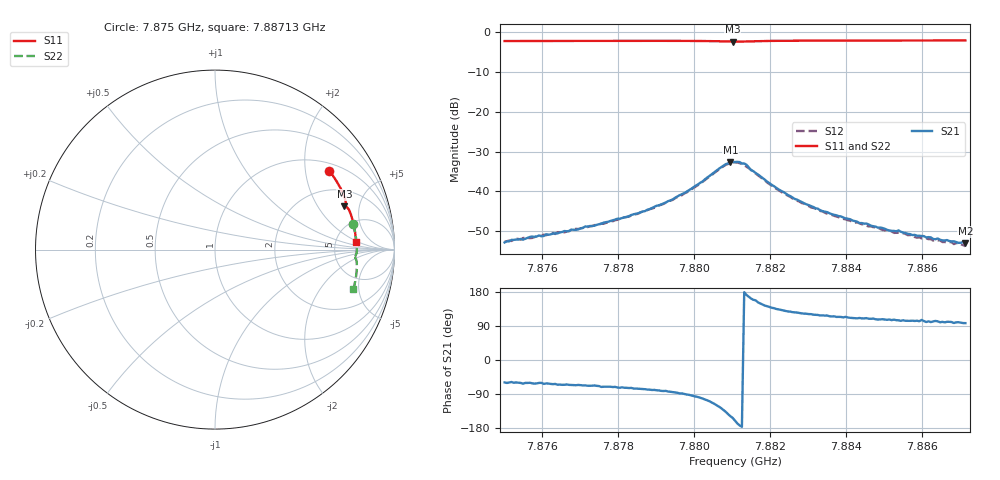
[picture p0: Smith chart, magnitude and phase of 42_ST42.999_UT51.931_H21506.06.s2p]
#  HZ  S  DB  R  50.00
! Rohde & Schwarz Vector Network Analyzer
! Rohde-Schwarz,ZNB20-2Port,1311601062101988,3.16
! Created: UTC 1/12/2023, 6:32:15 PM
! freq[Hz]  db:S11  ang:S11  db:S21  ang:S21  db:S12  ang:S12  db:S22  ang:S22
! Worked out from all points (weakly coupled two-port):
!   201 points, 7.875 GHz to 7.88713 GHz, reference 50 ohm
!   highest |S21| = -32.60 dB at 7.88095 GHz (marker M1); lowest = -53.1 dB at 7.88713 GHz (marker M2)
!   lowest |S11| = -2.4 dB at 7.88101 GHz (marker M3), VSWR 7.35, Z = 155 + j177 ohm
!   |S11| at or under -10 dB: nowhere
!   |S22| runs from -2.3 to -1.9 dB; largest |S21 - S12| = 0.0026
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7.875004e9  -2.22 34.5  -52.87 -59.2  -52.60 -61.5  -2.13 10.6
7.877066e9  -2.19 28.9  -49.18 -67.1  -49.22 -71.1  -2.08 5.7
7.878279e9  -2.18 25.6  -46.24 -74.0  -46.35 -76.8  -2.06 2.9
7.879068e9  -2.17 23.4  -43.52 -80.3  -43.56 -83.7  -2.04 1.0
7.879795e9  -2.19 21.3  -40.10 -91.1  -40.31 -94.3  -2.05 -0.8
7.880645e9  -2.30 18.9  -34.35 -123.1  -34.50 -126.3  -2.17 -3.0
7.880948e9  -2.37 18.5  -32.60 -148.4  -32.91 -151.7  -2.23 -3.2
7.881008e9  -2.38 18.5  -32.65 -152.8  -32.74 -157.7  -2.25 -3.2
7.881069e9  -2.38 18.6  -32.63 -160.1  -32.74 -163.9  -2.26 -3.1
7.881372e9  -2.32 18.4  -33.33 171.6  -33.83 168.0  -2.19 -3.0
7.881494e9  -2.28 18.2  -34.69 162.0  -34.64 159.1  -2.16 -3.1
7.882222e9  -2.16 16.2  -39.56 133.6  -39.77 129.8  -2.03 -4.8
7.883131e9  -2.12 13.6  -43.96 119.6  -44.19 116.0  -1.98 -7.0
7.884223e9  -2.10 10.6  -47.49 110.3  -47.88 107.8  -1.95 -9.5
7.885133e9  -2.09 8.2  -49.86 106.9  -49.83 103.1  -1.94 -11.6
7.885376e9  -2.09 7.6  -49.84 104.8  -50.43 101.8  -1.93 -12.1
7.885739e9  -2.09 6.6  -51.01 103.7  -51.01 99.9  -1.92 -12.9
7.885861e9  -2.08 6.3  -51.17 103.6  -51.71 99.2  -1.93 -13.1
7.886771e9  -2.08 3.9  -52.60 100.2  -52.81 96.6  -1.92 -15.1
7.886831e9  -2.08 3.8  -52.57 97.7  -53.28 95.1  -1.92 -15.3
7.886953e9  -2.07 3.5  -52.97 99.7  -53.05 95.2  -1.92 -15.5
7.887134e9  -2.07 3.0  -53.08 97.3  -53.80 94.9  -1.91 -15.9
